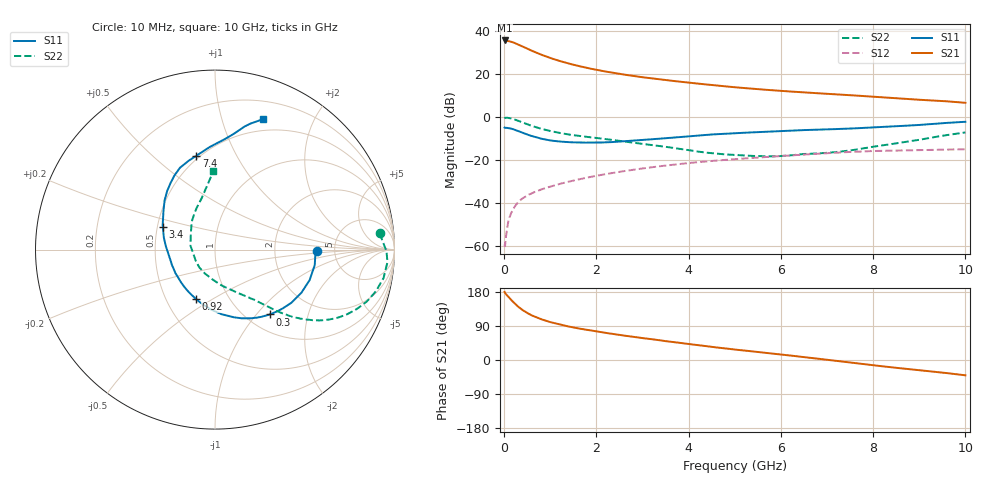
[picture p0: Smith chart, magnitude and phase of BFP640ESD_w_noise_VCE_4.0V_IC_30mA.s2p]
! Infineon Technologies  Discrete & RF Semiconductors
! BFP640ESD
! VCE =  4.0 V,  IC =  30 mA
! Common Emitter S-Parameters:  Jan 2016
# GHz  S  MA  R  50
!  f  S11  S21  S12  S22
! GHz  MAG  ANG  MAG  ANG  MAG  ANG  MAG  ANG
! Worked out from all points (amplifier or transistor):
!   233 points, 10 MHz to 10 GHz, reference 50 ohm
!   highest |S21| = 35.5 dB at 10 MHz (marker M1)
!   |S21| within 3 dB of that: start of sweep to 420.6 MHz
!   unconditionally stable (mu >= 1): start of sweep to 12.79 MHz; 2.689 GHz to 6.987 GHz
!   at 200 MHz: K = 0.32, MSG = 38.6 dB, |S12| = -42.6 dB
!   at 1.74 GHz: K = 0.94, MSG = 25.7 dB, |S12| = -28.4 dB
!   at 10 GHz: K = 0.89, MSG = 10.8 dB, |S12| = -15.0 dB
!   lowest NFmin = 1.09 dB at 450 MHz
!   S11 on the Smith chart (normalised r, x): 10 MHz: 3.62, -0.11; 300 MHz: 1.27, -1.18; 920 MHz: 0.70, -0.43; 3.4 GHz: 0.54, +0.15; 7.4 GHz: 0.48, +0.70; 10 GHz: 0.38, +1.36
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0.01  0.5674 -1.0  59.86 179.8  0.0011 64.5  0.922 5.6
0.02  0.5597 -3.4  59.21 176.7  0.001 72.1  0.9557 -0.6
0.045  0.5616 -7.9  58.62 173.0  0.0018 71.4  0.9619 -3.6
0.1  0.5539 -17.9  57.78 165.7  0.0041 75.5  0.9523 -9.6
0.15  0.5381 -26.5  56.02 158.8  0.0058 73.8  0.9263 -14.5
0.2  0.5187 -34.8  53.84 152.5  0.0074 72.0  0.8938 -18.9
0.3  0.4733 -49.8  48.66 141.1  0.0104 69.2  0.8191 -26.1
0.36  0.4468 -57.9  45.47 135.4  0.0119 67.6  0.7737 -29.6
0.45  0.411 -68.7  40.96 127.8  0.0139 65.9  0.7103 -33.7
0.6  0.3613 -84.4  34.53 117.6  0.0169 64.2  0.6204 -38.5
0.7  0.3347 -93.7  31.07 112.3  0.0188 63.7  0.5735 -40.9
0.8  0.3147 -101.7  28.08 107.7  0.0206 63.5  0.534 -42.6
0.92  0.2958 -110.7  25.18 102.9  0.0227 63.4  0.4951 -44.3
1.24  0.2674 -131.0  19.48 92.6  0.0285 63.3  0.4194 -47.9
1.68  0.2549 -151.9  14.73 81.9  0.0367 62.6  0.3569 -51.8
2.4  0.2637 -177.4  10.44 68.0  0.0513 59.4  0.2884 -59.7
3.4  0.3155 156.9  7.413 51.6  0.0723 52.1  0.2095 -77.2
5.1  0.426 128.1  4.801 26.4  0.1067 36.4  0.1293 -135.4
6.8  0.5074 109.1  3.559 3.5  0.1401 20.1  0.1426 162.9
7.4  0.5329 101.2  3.258 -5.1  0.1524 13.7  0.1621 146.1
8.4  0.6005 87.6  2.755 -19.3  0.1655 1.9  0.2354 118.6
10  0.774 69.8  2.134 -40.4  0.1783 -13.9  0.4378 91.2
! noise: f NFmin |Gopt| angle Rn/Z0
0.45  1.09  0.19  -166  0.09
0.9  1.1  0.19  -163  0.09
1.9  1.11  0.23  -136  0.12
2.4  1.13  0.25  -130  0.12
5.5  1.34  0.43  -104  0.18
10  1.91  0.59  -74  0.79
